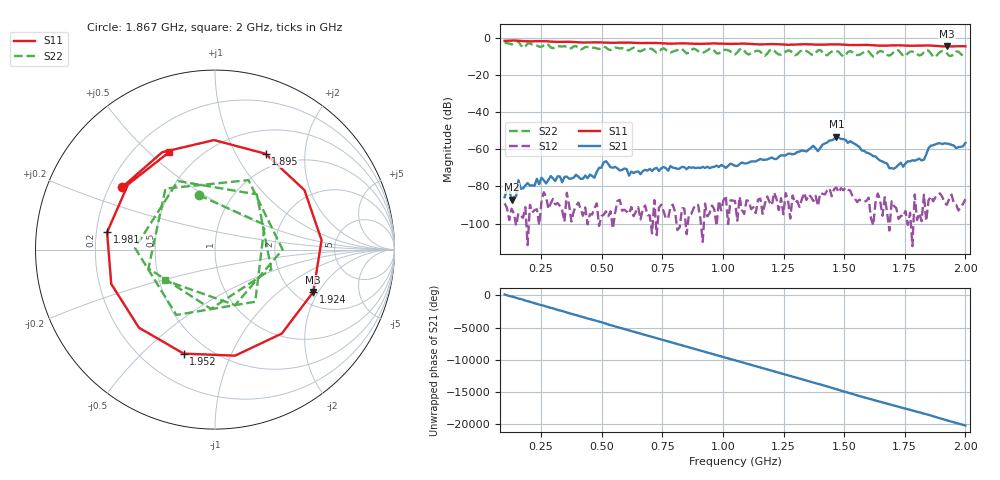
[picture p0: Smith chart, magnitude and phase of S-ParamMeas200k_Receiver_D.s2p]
!Keysight Technologies,N5242B,MY48420967,A.15.65.19
!Date: Saturday, February 04, 2023 12:16:11
!Correction: S11(C  1-Port  )
!S21(Off)
!S12(Off)
!S22(Off)
!S2P File: Measurements: S11, S21, S12, S22:
# Hz S  dB  R 50
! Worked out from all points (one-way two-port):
!   201 points, 100 MHz to 2 GHz, reference 50 ohm
!   highest |S21| = -53.18 dB at 1.468 GHz (marker M1); lowest = -87.1 dB at 128.5 MHz (marker M2)
!   lowest |S11| = -4.5 dB at 1.924 GHz (marker M3), VSWR 3.95, Z = 124 - j90.5 ohm
!   |S11| at or under -10 dB: nowhere
!   |S22| runs from -10.2 to -1.8 dB; largest |S21 - S12| = 0.0022
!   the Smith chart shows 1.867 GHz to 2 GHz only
!   S11 on the Smith chart (normalised r, x): 1.867 GHz: 0.25, +0.29; 1.895 GHz: 0.79, +1.33; 1.924 GHz: 2.48, -1.81; 1.952 GHz: 0.37, -0.68; 1.981 GHz: 0.24, +0.08; 2 GHz: 0.34, +0.58
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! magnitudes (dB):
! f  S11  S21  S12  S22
! 100 MHz  -1.5  -85.8  -89.1  -2.7
! 128.5 MHz  -1.3  -87.1  -92.0  -3.4
! 252 MHz  -1.6  -75.3  -88.3  -4.7
! 271 MHz  -1.7  -78.4  -85.5  -3.0
! 290 MHz  -1.9  -74.4  -89.1  -5.0
! 423 MHz  -2.4  -75.8  -95.8  -5.7
! 470.5 MHz  -2.3  -75.3  -91.7  -5.2
! 518 MHz  -2.4  -66.4  -93.4  -5.0
! 613 MHz  -2.4  -74.2  -94.7  -6.6
! 736.5 MHz  -2.7  -71.7  -91.4  -7.4
! 1.05 GHz  -3.1  -68.9  -87.8  -8.8
! 1.373 GHz  -3.5  -58.1  -87.8  -9.1
! 1.392 GHz  -3.6  -61.0  -90.6  -6.6
! 1.468 GHz  -3.4  -53.2  -80.6  -6.9
! 1.687 GHz  -3.9  -70.2  -103.8  -9.5
! 1.829 GHz  -4.0  -65.6  -84.4  -7.6
! 1.867 GHz  -4.1  -57.7  -88.0  -10.0
! 1.895 GHz  -4.4  -56.7  -83.8  -7.5
! 1.924 GHz  -4.5  -56.9  -89.8  -8.3
! 1.952 GHz  -4.4  -58.0  -89.1  -8.3
! 1.981 GHz  -4.3  -58.6  -91.1  -8.5
! 2 GHz  -4.4  -56.5  -86.9  -9.7
